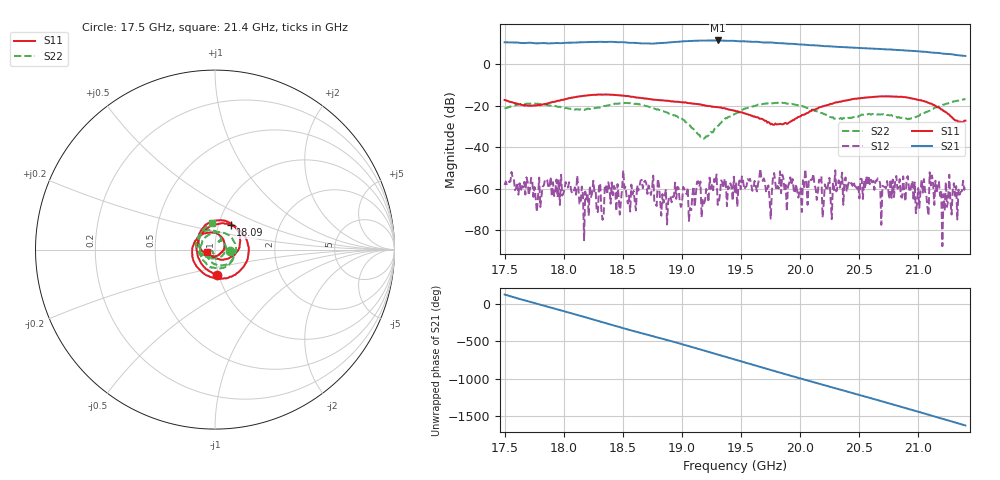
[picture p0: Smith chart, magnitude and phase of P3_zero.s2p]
!Created with skrf (http://scikit-rf.org).
# GHz S RI R 50.0
!freq ReS11 ImS11 ReS21 ImS21 ReS12 ImS12 ReS22 ImS22
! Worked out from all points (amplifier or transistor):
!   401 points, 17.5 GHz to 21.4 GHz, reference 50 ohm
!   highest |S21| = 11.6 dB at 19.3 GHz (marker M1)
!   |S21| within 3 dB of that: start of sweep to 20.3 GHz
!   unconditionally stable (mu >= 1): start of sweep to end of sweep
!   at 18.14 GHz: K = 319.29, MAG = 10.8 dB, |S12| = -67.1 dB
!   at 19.45 GHz: K = 168.82, MAG = 11.4 dB, |S12| = -62.0 dB
!   at 21.4 GHz: K = 240.34, MAG = 4.2 dB, |S12| = -57.9 dB
!   S11 on the Smith chart (normalised r, x): 17.5 GHz: 0.98, -0.28; 18.09 GHz: 1.14, +0.32; 21.4 GHz: 0.92, -0.03
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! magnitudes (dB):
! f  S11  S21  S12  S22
! 17.5 GHz  -17.1  10.7  -58.1  -21.3
! 18.09 GHz  -15.7  10.5  -59.2  -21.8
! 18.15 GHz  -15.3  10.7  -58.8  -21.6
! 18.67 GHz  -16.2  10.1  -59.7  -19.5
! 18.81 GHz  -17.1  10.3  -57.9  -21.9
! 19.08 GHz  -18.7  11.3  -70.2  -30.3
! 19.14 GHz  -19.1  11.5  -56.2  -33.8
! 19.18 GHz  -19.6  11.5  -65.2  -35.2
! 19.3 GHz  -20.6  11.6  -67.7  -29.7
! 19.45 GHz  -22.3  11.3  -62.0  -23.8
! 19.67 GHz  -26.1  10.7  -55.4  -19.2
! 19.73 GHz  -27.8  10.6  -58.3  -18.7
! 19.84 GHz  -28.7  10.2  -62.0  -18.6
! 20 GHz  -25.2  9.6  -60.8  -19.7
! 20.1 GHz  -22.1  9.2  -55.4  -21.9
! 20.21 GHz  -19.9  8.8  -57.8  -24.0
! 20.34 GHz  -17.9  8.4  -59.4  -26.1
! 20.76 GHz  -15.4  7.2  -64.8  -24.5
! 21 GHz  -17.1  6.3  -59.6  -25.0
! 21.12 GHz  -19.0  5.7  -53.5  -21.7
! 21.22 GHz  -22.6  5.1  -70.4  -19.2
! 21.4 GHz  -27.1  4.1  -57.9  -16.7
